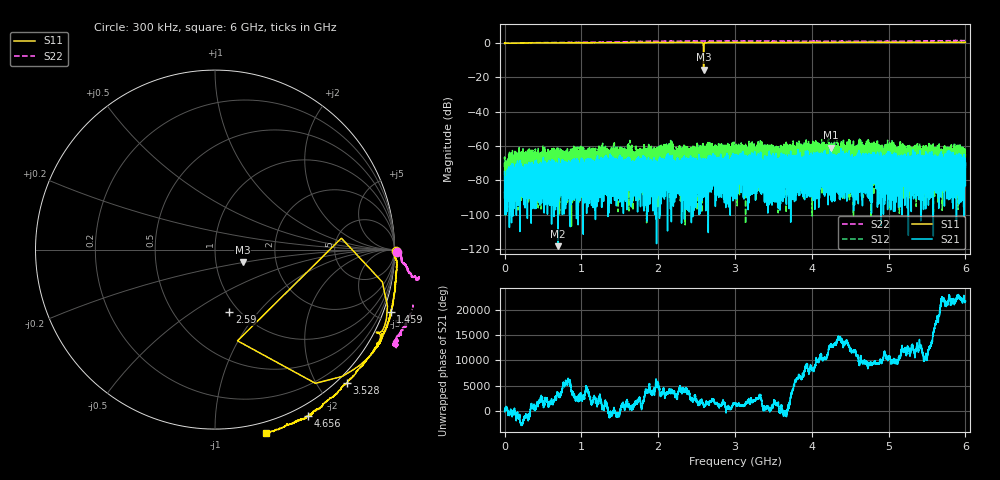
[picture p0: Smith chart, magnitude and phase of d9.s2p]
!Agilent Technologies,N5230C,SG49000117,A.08.50.07
!Agilent N5230C: A.08.50.07
!Date: Thursday, May 16, 2024 17:45:04
!Correction: S11(Full 2 Port(1,2))
!S21(Full 2 Port(1,2))
!S12(Full 2 Port(1,2))
!S22(Full 2 Port(1,2))
!S2P File: Measurements: S11, S21, S12, S22:
# Hz S  MA  R 50
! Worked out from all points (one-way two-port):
!   20001 points, 300 kHz to 6 GHz, reference 50 ohm
!   highest |S21| = -60.96 dB at 4.247 GHz (marker M1); lowest = -118.3 dB at 698.1 MHz (marker M2)
!   lowest |S11| = -15.3 dB at 2.591 GHz (marker M3), VSWR 1.41, Z = 67.6 - j9.88 ohm
!   |S11| at or under -10 dB: 2.590497 GHz to 2.591918 GHz (1.422 MHz wide, 0.0549 % of centre)
!   |S22| runs from -0.3 to 1.6 dB; largest |S21 - S12| = 0.0017
!   S11 on the Smith chart (normalised r, x): 300 kHz: open; 1.459 GHz: -0.67, -5.74; 2.59 GHz: 0.90, -0.72; 3.528 GHz: -0.15, -2.38; 4.656 GHz: -0.12, -1.70; 6 GHz: -0.08, -1.31
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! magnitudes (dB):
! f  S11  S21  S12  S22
! 300 kHz  0.1  -74.8  -76.9  0.1
! 30.6 MHz  0.0  -88.2  -82.5  0.0
! 163.8 MHz  0.0  -71.3  -83.1  0.1
! 698.1 MHz  0.2  -118.3  -69.9  0.4
! 1 GHz  0.2  -87.2  -69.0  0.5
! 1.459 GHz  0.3  -77.5  -82.3  0.8
! 2 GHz  0.4  -74.4  -75.3  1.1
! 2.158 GHz  0.4  -73.1  -67.1  1.2
! 2.238 GHz  0.5  -70.1  -67.6  1.2
! 2.59 GHz  -9.0  -73.5  -69.6  1.3
! 2.591 GHz  -15.3  -74.4  -70.3  1.3
! 3 GHz  0.4  -70.1  -71.5  1.3
! 3.528 GHz  0.4  -75.6  -66.2  1.2
! 4 GHz  0.4  -70.2  -66.0  1.2
! 4.247 GHz  0.5  -61.0  -65.4  1.1
! 4.656 GHz  0.5  -72.2  -65.4  1.1
! 4.823 GHz  0.5  -72.3  -61.0  1.0
! 4.94 GHz  0.5  -71.3  -75.6  1.2
! 5 GHz  0.5  -76.2  -62.0  1.1
! 5.268 GHz  0.5  -74.7  -61.0  1.3
! 5.903 GHz  0.5  -70.9  -62.6  1.5
! 6 GHz  0.5  -82.7  -69.9  1.5
